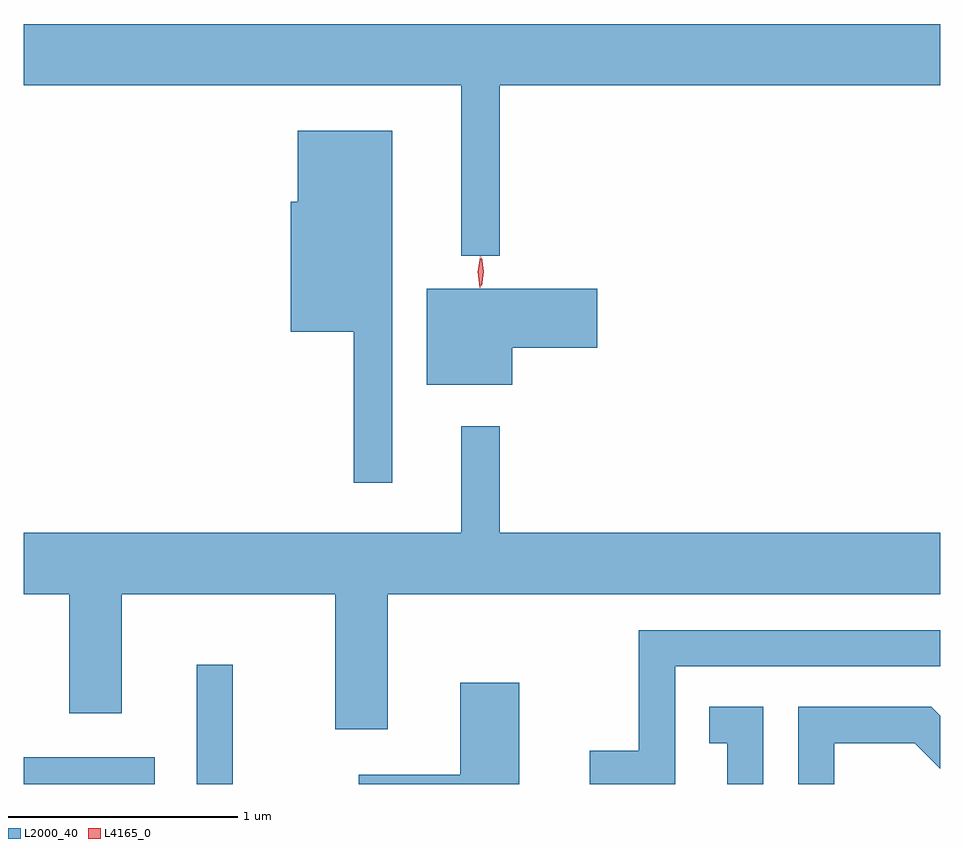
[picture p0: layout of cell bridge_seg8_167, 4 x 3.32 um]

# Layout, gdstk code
import gdstk
lib = gdstk.Library(unit=1e-6, precision=1e-09)
def R(c, l, rs):  # rectangles x0, y0, x1, y1
    for r in rs: c.add(gdstk.rectangle(r[:2], r[2:], *l))
def P(c, l, *ps):  # polygons
    for p in ps: c.add(gdstk.Polygon(p, *l))
L2000_40 = (2000, 40)
L4165_0 = (4165, 0)

bridge_seg8_167 = lib.new_cell('bridge_seg8_167')
R(bridge_seg8_167, L2000_40, [(1445.461,1888.868,1446.034,1888.984), (1446.216,1888.868,1446.374,1889.388)])
P(bridge_seg8_167, L2000_40, [(1447.539,1891.916),(1449.461,1891.916),(1449.461,1892.184),(1445.461,1892.184),(1445.461,1891.916),(1447.371,1891.916),(1447.371,1891.173),(1447.539,1891.173)],
  [(1447.069,1891.719),(1446.656,1891.719),(1446.656,1891.409),(1446.626,1891.409),(1446.626,1890.841),(1446.901,1890.841),(1446.901,1890.183),(1447.069,1890.183)],
  [(1447.594,1890.771),(1447.964,1890.771),(1447.964,1891.029),(1447.221,1891.029),(1447.221,1890.611),(1447.594,1890.611)],
  [(1445.461,1889.696),(1445.661,1889.696),(1445.661,1889.176),(1445.889,1889.176),(1445.889,1889.696),(1446.821,1889.696),(1446.821,1889.106),(1447.049,1889.106),(1447.049,1889.696),(1449.461,1889.696),(1449.461,1889.964),(1447.539,1889.964),(1447.539,1890.428),(1447.371,1890.428),(1447.371,1889.964),(1445.461,1889.964)],
  [(1448.304,1889.381),(1449.461,1889.381),(1449.461,1889.539),(1448.146,1889.539),(1448.146,1889.014),(1447.931,1889.014),(1447.931,1888.868),(1448.304,1888.868)],
  [(1447.624,1889.309),(1447.366,1889.309),(1447.366,1888.909),(1446.923,1888.909),(1446.923,1888.868),(1447.624,1888.868)],
  [(1448.689,1889.204),(1448.453,1889.204),(1448.453,1889.046),(1448.531,1889.046),(1448.531,1888.868),(1448.689,1888.868)],
  [(1448.999,1889.046),(1449.349,1889.046),(1449.461,1888.934),(1449.461,1889.165),(1449.422,1889.204),(1448.841,1889.204),(1448.841,1888.868),(1448.999,1888.868)])
P(bridge_seg8_167, L4165_0, [(1447.452,1891.034),(1447.452,1891.034),(1447.443,1891.102),(1447.454,1891.169),(1447.454,1891.17),(1447.454,1891.169),(1447.463,1891.102),(1447.453,1891.034)],
  [(1447.459,1891.04),(1447.449,1891.103),(1447.459,1891.166),(1447.459,1891.167),(1447.46,1891.166),(1447.469,1891.103),(1447.46,1891.04),(1447.46,1891.04)])

lib.write_gds('bridge_seg8_167.gds')
